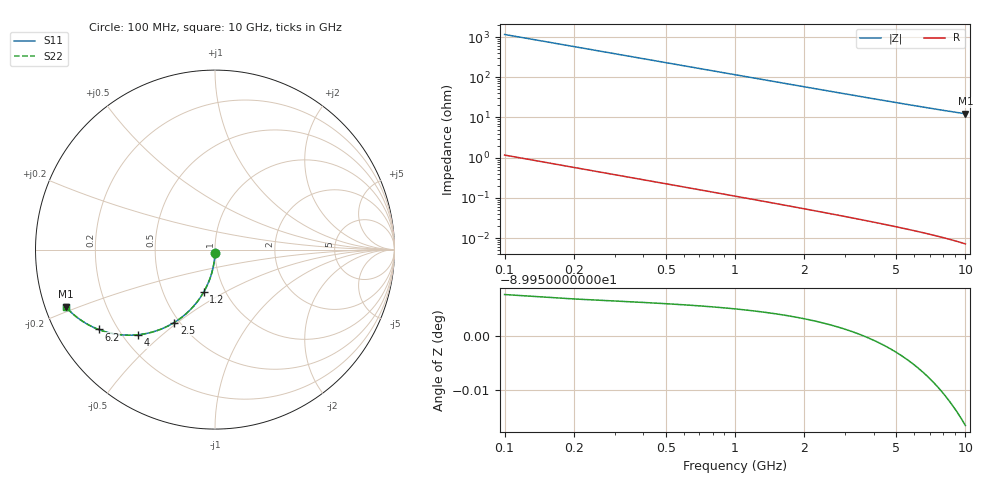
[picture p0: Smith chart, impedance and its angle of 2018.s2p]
# Hz S RI R 50.00
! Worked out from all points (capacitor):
!   100 points, 100 MHz to 10 GHz, reference 50 ohm
!   read as one part in shunt: C = 1.38 pF near 100 MHz
!   lowest |Z| = 12.4 ohm at 10 GHz (marker M1)
!   S11 on the Smith chart (normalised r, x): 100 MHz: 1.00, -0.04; 1.2 GHz: 0.79, -0.40; 2.5 GHz: 0.47, -0.49; 4 GHz: 0.26, -0.42; 6.2 GHz: 0.13, -0.31; 10 GHz: 0.06, -0.18
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1e8  -0.000303 -0.0211  0.9993 -0.0221  0.9993 -0.0221  -0.000303 -0.0211
2e8  -0.00172 -0.0422  0.9979 -0.0442  0.9979 -0.0442  -0.00172 -0.0422
3e8  -0.00406 -0.0631  0.9956 -0.0661  0.9956 -0.0661  -0.00406 -0.0631
4e8  -0.00732 -0.0839  0.9923 -0.0878  0.9923 -0.0878  -0.00732 -0.0839
5e8  -0.0115 -0.1044  0.9881 -0.1093  0.9881 -0.1093  -0.0115 -0.1044
6e8  -0.0165 -0.1246  0.9831 -0.1306  0.9831 -0.1306  -0.0165 -0.1246
7e8  -0.0223 -0.1445  0.9772 -0.1514  0.9772 -0.1514  -0.0223 -0.1445
9e8  -0.0365 -0.183  0.9631 -0.192  0.9631 -0.192  -0.0365 -0.183
1.2e9  -0.0632 -0.2372  0.9364 -0.2491  0.9364 -0.2491  -0.0632 -0.2372
1.5e9  -0.0954 -0.2861  0.9041 -0.301  0.9041 -0.301  -0.0954 -0.2861
1.8e9  -0.1319 -0.3292  0.8675 -0.3472  0.8675 -0.3472  -0.1319 -0.3292
2.1e9  -0.1715 -0.3663  0.8279 -0.3872  0.8279 -0.3872  -0.1715 -0.3663
2.5e9  -0.2271 -0.4062  0.7722 -0.4311  0.7722 -0.4311  -0.2271 -0.4062
2.9e9  -0.2837 -0.436  0.7155 -0.4649  0.7155 -0.4649  -0.2837 -0.436
3.4e9  -0.353 -0.4605  0.646 -0.4945  0.646 -0.4945  -0.353 -0.4605
4e9  -0.431 -0.4747  0.5678 -0.5148  0.5678 -0.5148  -0.431 -0.4747
5.1e9  -0.5536 -0.4708  0.4447 -0.5222  0.4447 -0.5222  -0.5536 -0.4708
6.2e9  -0.6488 -0.4449  0.3488 -0.5079  0.3488 -0.5079  -0.6488 -0.4449
6.7e9  -0.6842 -0.4296  0.3131 -0.4979  0.3131 -0.4979  -0.6842 -0.4296
7.5e9  -0.7321 -0.403  0.2645 -0.4798  0.2645 -0.4798  -0.7321 -0.403
8.4e9  -0.7756 -0.3719  0.2202 -0.4585  0.2202 -0.4585  -0.7756 -0.3719
1e10  -0.8324 -0.3179  0.1616 -0.4225  0.1616 -0.4225  -0.8324 -0.3179
